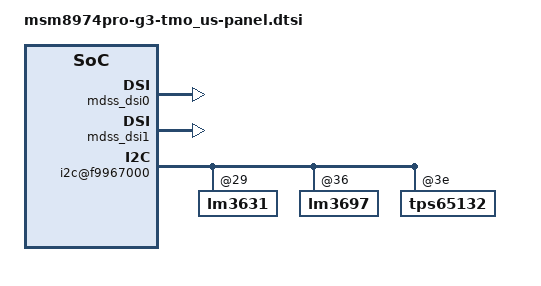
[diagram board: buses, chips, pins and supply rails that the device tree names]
/* Copyright (c) 2012, Code Aurora Forum. All rights reserved.
 *
 * This program is free software; you can redistribute it and/or modify
 * it under the terms of the GNU General Public License version 2 and
 * only version 2 as published by the Free Software Foundation.
 *
 * This program is distributed in the hope that it will be useful,
 * but WITHOUT ANY WARRANTY; without even the implied warranty of
 * MERCHANTABILITY or FITNESS FOR A PARTICULAR PURPOSE.  See the
 * GNU General Public License for more details.
 */

&mdss_dsi0 {
	status = "ok";
	lge,num-of-dsv-enable-gpio = <
		0 0  // evb1  = 0 ; evb2  = 0
		0 1  // rev_a = 0 ; rev_b = 1
		1 2  // rev_c = 1 ; rev_d = 2
		2 2  // rev_e = 2 ; rev_f = 2
		2 2  // rev_g = 2 ; rev_h = 2
		2 2  // rev_10 = 2; rev_11 = 2
		2    // rev_12 = 2
		>;
};

&mdss_dsi1 {
	status = "ok";
	lge,num-of-dsv-enable-gpio = <
		0 0  // evb1  = 0 ; evb2  = 0
		0 1  // rev_a = 0 ; rev_b = 1
		1 2  // rev_c = 1 ; rev_d = 2
		2 2  // rev_e = 2 ; rev_f = 2
		2 2  // rev_g = 2 ; rev_h = 2
		2 2  // rev_10 = 2; rev_11 = 2
		2     // rev_12 = 2
		>;
};

&soc {
	i2c@f9967000 {
		lm3631@29{
			status = "ok";
			revision = "rev_a";
		};
		lm3697@36{
			status = "ok";
			revision = "rev_b...";
			lcd_bl {
				lge,hvled = <
					12 12  // evb1  = hvled1, hvled2  ; evb2  = hvled1, hvled2
					12 23  // rev_a = hvled1, hvled2 ; rev_b = hvled2, hvled3
					23 12  // rev_c = hvled1, hvled2 ; rev_d = hvled1, hvled2
					12 12  // rev_e = hvled1, hvled2 ; rev_f = hvled1, hvled2
					12 12  // rev_g = hvled1, hvled2 ; rev_h = hvled1, hvled2
					12 12  // rev_10 = hvled1, hvled2 ; rev_11 = hvled1, hvled2
					12     // rev_12 = hvled1, hvled2
					>;
			};
		};
		tps65132@3e {
			status = "ok";
			revision = "rev_b...";
		};
     };
};
